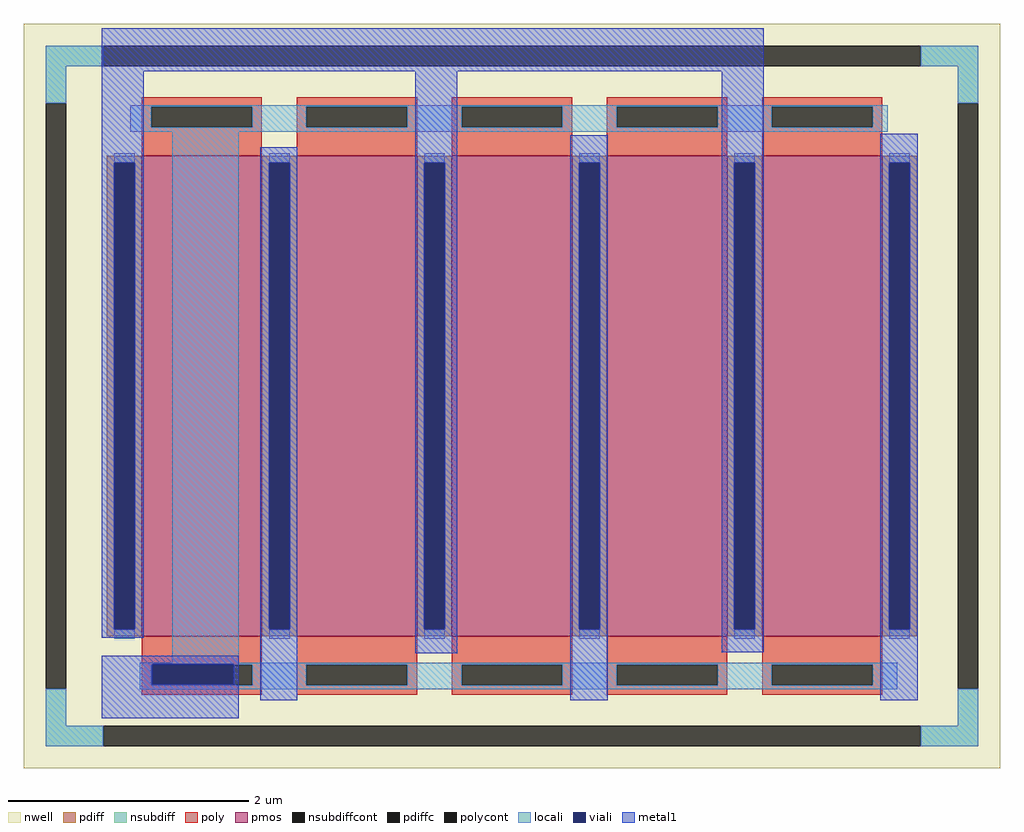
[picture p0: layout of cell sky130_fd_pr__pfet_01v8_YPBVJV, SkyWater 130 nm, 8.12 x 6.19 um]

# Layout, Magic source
magic
tech sky130A
magscale 1 2
<< nwell >>
rect -812 -619 812 619
<< pmos >>
rect -616 -400 -416 400
rect -358 -400 -158 400
rect -100 -400 100 400
rect 158 -400 358 400
rect 416 -400 616 400
<< pdiff >>
rect -674 388 -616 400
rect -674 -388 -662 388
rect -628 -388 -616 388
rect -674 -400 -616 -388
rect -416 388 -358 400
rect -416 -388 -404 388
rect -370 -388 -358 388
rect -416 -400 -358 -388
rect -158 388 -100 400
rect -158 -388 -146 388
rect -112 -388 -100 388
rect -158 -400 -100 -388
rect 100 388 158 400
rect 100 -388 112 388
rect 146 -388 158 388
rect 100 -400 158 -388
rect 358 388 416 400
rect 358 -388 370 388
rect 404 -388 416 388
rect 358 -400 416 -388
rect 616 388 674 400
rect 616 -388 628 388
rect 662 -388 674 388
rect 616 -400 674 -388
<< pdiffc >>
rect -662 -388 -628 388
rect -404 -388 -370 388
rect -146 -388 -112 388
rect 112 -388 146 388
rect 370 -388 404 388
rect 628 -388 662 388
<< nsubdiff >>
rect -776 549 -680 583
rect 680 549 776 583
rect -776 487 -742 549
rect 742 487 776 549
rect -776 -549 -742 -487
rect 742 -549 776 -487
rect -776 -583 -680 -549
rect 680 -583 776 -549
<< nsubdiffcont >>
rect -680 549 680 583
rect -776 -487 -742 487
rect 742 -487 776 487
rect -680 -583 680 -549
<< poly >>
rect -616 481 -416 497
rect -616 447 -600 481
rect -432 447 -416 481
rect -616 400 -416 447
rect -358 481 -158 497
rect -358 447 -342 481
rect -174 447 -158 481
rect -358 400 -158 447
rect -100 481 100 497
rect -100 447 -84 481
rect 84 447 100 481
rect -100 400 100 447
rect 158 481 358 497
rect 158 447 174 481
rect 342 447 358 481
rect 158 400 358 447
rect 416 481 616 497
rect 416 447 432 481
rect 600 447 616 481
rect 416 400 616 447
rect -616 -447 -416 -400
rect -616 -481 -600 -447
rect -432 -481 -416 -447
rect -616 -497 -416 -481
rect -358 -447 -158 -400
rect -358 -481 -342 -447
rect -174 -481 -158 -447
rect -358 -497 -158 -481
rect -100 -447 100 -400
rect -100 -481 -84 -447
rect 84 -481 100 -447
rect -100 -497 100 -481
rect 158 -447 358 -400
rect 158 -481 174 -447
rect 342 -481 358 -447
rect 158 -497 358 -481
rect 416 -447 616 -400
rect 416 -481 432 -447
rect 600 -481 616 -447
rect 416 -497 616 -481
<< polycont >>
rect -600 447 -432 481
rect -342 447 -174 481
rect -84 447 84 481
rect 174 447 342 481
rect 432 447 600 481
rect -600 -481 -432 -447
rect -342 -481 -174 -447
rect -84 -481 84 -447
rect 174 -481 342 -447
rect 432 -481 600 -447
<< locali >>
rect -776 549 -680 583
rect 680 549 776 583
rect -776 487 -742 549
rect 742 487 776 549
rect -635 481 625 484
rect -635 447 -600 481
rect -432 447 -342 481
rect -174 447 -84 481
rect 84 447 174 481
rect 342 447 432 481
rect 600 447 625 481
rect -635 440 625 447
rect -662 388 -628 404
rect -662 -404 -628 -388
rect -565 -444 -455 440
rect -404 388 -370 404
rect -404 -404 -370 -388
rect -146 388 -112 404
rect -146 -404 -112 -388
rect 112 388 146 404
rect 112 -404 146 -388
rect 370 388 404 404
rect 370 -404 404 -388
rect 628 388 662 404
rect 628 -404 662 -388
rect -776 -549 -742 -487
rect -619 -446 641 -444
rect -619 -447 -599 -446
rect -463 -447 641 -446
rect -619 -481 -600 -447
rect -432 -481 -342 -447
rect -174 -481 -84 -447
rect 84 -481 174 -447
rect 342 -481 432 -447
rect 600 -481 641 -447
rect -619 -488 641 -481
rect 742 -549 776 -487
rect -776 -583 -680 -549
rect 680 -583 776 -549
<< viali >>
rect -662 -388 -628 388
rect -404 -388 -370 388
rect -146 -388 -112 388
rect 112 -388 146 388
rect 370 -388 404 388
rect 628 -388 662 388
rect -599 -447 -463 -446
rect -599 -480 -463 -447
<< metal1 >>
rect -683 540 419 612
rect -683 388 -613 540
rect -683 -388 -662 388
rect -628 -388 -613 388
rect -683 -402 -613 -388
rect -419 388 -357 414
rect -419 -388 -404 388
rect -370 -388 -357 388
rect -683 -446 -455 -432
rect -683 -480 -599 -446
rect -463 -480 -455 -446
rect -683 -536 -455 -480
rect -419 -506 -357 -388
rect -161 388 -91 540
rect -161 -388 -146 388
rect -112 -388 -91 388
rect -161 -428 -91 -388
rect 97 388 159 434
rect 97 -388 112 388
rect 146 -388 159 388
rect 97 -506 159 -388
rect 349 388 419 540
rect 349 -388 370 388
rect 404 -388 419 388
rect 349 -426 419 -388
rect 613 388 675 436
rect 613 -388 628 388
rect 662 -388 675 388
rect 613 -506 675 -388
<< properties >>
string FIXED_BBOX -759 -566 759 566
string gencell sky130_fd_pr__pfet_01v8
string library sky130
string parameters w 4 l 1 m 1 nf 5 diffcov 100 polycov 100 guard 1 glc 1 grc 1 gtc 1 gbc 1 tbcov 100 rlcov 100 topc 1 botc 1 poverlap 0 doverlap 1 lmin 0.15 wmin 0.42 class mosfet compatible {sky130_fd_pr__pfet_01v8  sky130_fd_pr__pfet_01v8_lvt sky130_fd_pr__pfet_01v8_hvt  sky130_fd_pr__pfet_g5v0d10v5} full_metal 1 conn_gates 0 viasrc 100 viadrn 100 viagate 100 viagb 0 viagr 0 viagl 0 viagt 0 doports 1
<< end >>
